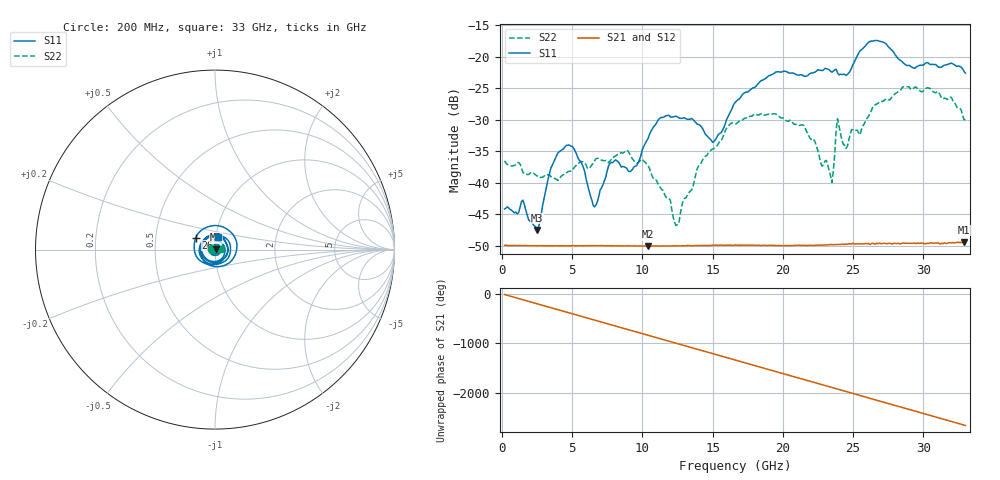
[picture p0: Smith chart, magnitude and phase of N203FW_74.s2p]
# GHZ S RI R 50
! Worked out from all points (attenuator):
!   329 points, 200 MHz to 33 GHz, reference 50 ohm
!   highest |S21| = -49.45 dB at 32.9 GHz (marker M1); lowest = -50.1 dB at 10.4 GHz (marker M2)
!   lowest |S11| = -47.5 dB at 2.5 GHz (marker M3), VSWR 1.01, Z = 50.4 + j0.222 ohm
!   |S11| at or under -10 dB: start of sweep to end of sweep
!   |S22| runs from -46.8 to -24.8 dB; largest |S21 - S12| = 8.8e-05
!   S11 on the Smith chart (normalised r, x): 200 MHz: 1.01, +0.00; 26 GHz: 0.80, +0.11; 33 GHz: 1.03, +0.15
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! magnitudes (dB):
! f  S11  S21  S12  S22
! 200 MHz  -44.2  -50.0  -49.9  -36.5
! 1.5 GHz  -42.8  -50.0  -50.0  -38.4
! 2.5 GHz  -47.5  -50.1  -50.0  -38.9
! 4 GHz  -35.3  -50.0  -50.0  -39.7
! 5.7 GHz  -37.0  -50.0  -50.0  -36.7
! 6.6 GHz  -43.9  -50.0  -50.0  -36.6
! 7.7 GHz  -37.0  -50.0  -50.0  -36.6
! 9.2 GHz  -38.1  -50.1  -50.0  -35.9
! 10.4 GHz  -33.0  -50.1  -50.1  -37.3
! 11.2 GHz  -29.9  -50.1  -50.1  -40.5
! 12.5 GHz  -29.6  -50.1  -50.1  -46.7
! 15 GHz  -33.6  -50.0  -50.0  -34.7
! 16.6 GHz  -27.3  -49.9  -49.9  -30.7
! 22.1 GHz  -22.6  -50.0  -50.0  -33.0
! 23.5 GHz  -22.5  -49.9  -49.8  -40.0
! 23.9 GHz  -22.6  -49.8  -49.9  -29.9
! 24.5 GHz  -23.0  -49.7  -49.7  -34.6
! 26 GHz  -18.0  -49.7  -49.7  -29.8
! 27.6 GHz  -18.6  -49.7  -49.7  -26.9
! 30.4 GHz  -21.1  -49.7  -49.7  -25.0
! 32.9 GHz  -22.3  -49.5  -49.4  -30.0
! 33 GHz  -22.6  -49.5  -49.5  -30.1
